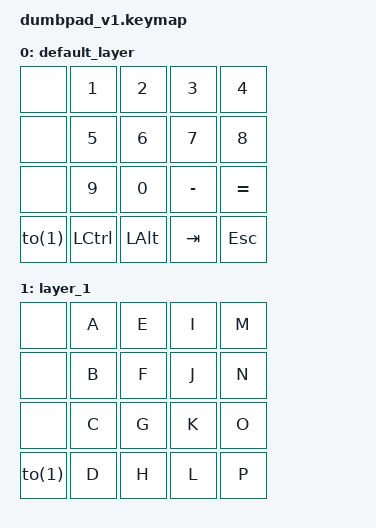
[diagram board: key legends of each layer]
#include <behaviors.dtsi>
#include <dt-bindings/zmk/keys.h>
#include <dt-bindings/zmk/bt.h>
#include <dt-bindings/zmk/outputs.h>

/ {
  keymap {
    compatible = "zmk,keymap";

    default_layer {
      bindings = <
        &none &kp N1    &kp N2     &kp N3    &kp N4
        &none &kp N5    &kp N6     &kp N7    &kp N8
        &none &kp N9    &kp N0     &kp MINUS &kp EQUAL
        &to(1) &kp LCTRL &kp LALT   &kp TAB   &kp ESC
      >;
      /*encoder-bindings = < &kp VOL_UP &kp VOL_DOWN >;*/
    };

    layer_1 {
      bindings = <
        &none &kp A &kp E &kp I &kp M
        &none &kp B &kp F &kp J &kp N
        &none &kp C &kp G &kp K &kp O
        &to(1) &kp D &kp H &kp L &kp P
      >;
      /* Disable encoder on this layer for now; change later if desired */
      /*encoder-bindings = < &none &none >;*/
    };
  };
};
